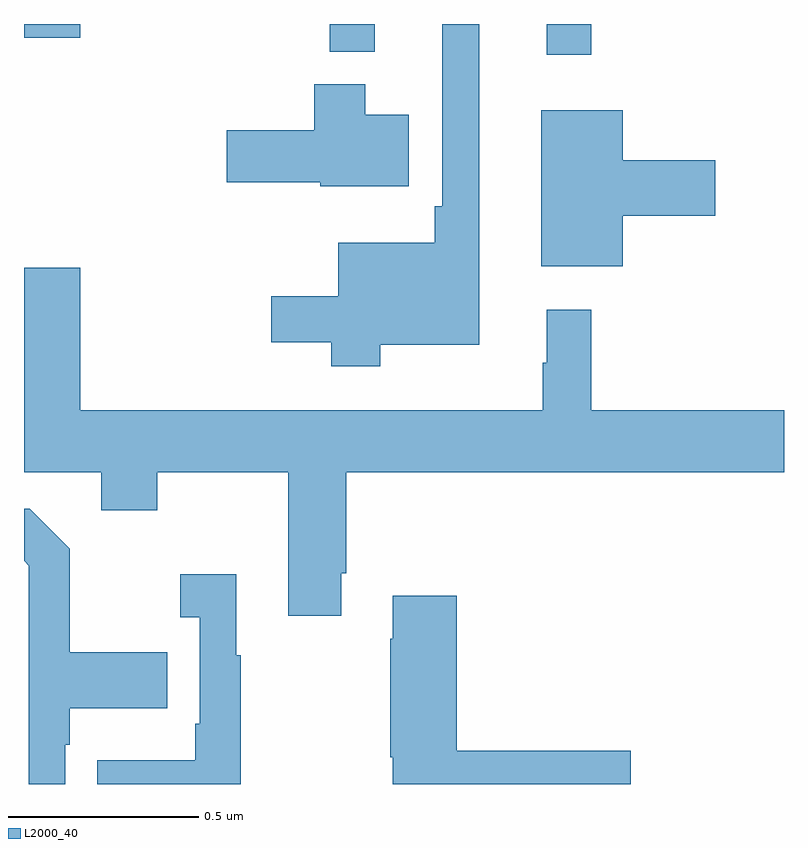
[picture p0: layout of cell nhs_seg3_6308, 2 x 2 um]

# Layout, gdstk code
import gdstk
lib = gdstk.Library(unit=1e-6, precision=1e-09)
def R(c, l, rs):  # rectangles x0, y0, x1, y1
    for r in rs: c.add(gdstk.rectangle(r[:2], r[2:], *l))
def P(c, l, *ps):  # polygons
    for p in ps: c.add(gdstk.Polygon(p, *l))
L2000_40 = (2000, 40)

nhs_seg3_6308 = lib.new_cell('nhs_seg3_6308')
R(nhs_seg3_6308, L2000_40, [(190.376,731.319,190.493,731.4), (189.805,731.327,189.923,731.4), (189,731.364,189.148,731.4)])
P(nhs_seg3_6308, L2000_40, [(189.937,730.556),(190.198,730.556),(190.198,731.4),(190.101,731.4),(190.101,730.921),(190.081,730.921),(190.081,730.825),(189.827,730.825),(189.827,730.684),(189.651,730.684),(189.651,730.562),(189.808,730.562),(189.808,730.499),(189.937,730.499)],
  [(190.012,731.161),(189.898,731.161),(189.898,731.242),(189.764,731.242),(189.764,731.121),(189.534,731.121),(189.534,730.984),(189.78,730.984),(189.78,730.973),(190.012,730.973)],
  [(190.576,730.895),(190.819,730.895),(190.819,731.042),(190.576,731.042),(190.576,731.173),(190.361,731.173),(190.361,730.763),(190.576,730.763)],
  [(189.835,729.955),(189.848,729.955),(189.848,730.22),(191,730.22),(191,730.384),(190.493,730.384),(190.493,730.648),(190.376,730.648),(190.376,730.508),(190.365,730.508),(190.365,730.384),(189.148,730.384),(189.148,730.759),(189,730.759),(189,730.22),(189.203,730.22),(189.203,730.121),(189.351,730.121),(189.351,730.22),(189.695,730.22),(189.695,729.843),(189.835,729.843)],
  [(189.108,729.503),(189.121,729.503),(189.121,729.599),(189.377,729.599),(189.377,729.747),(189.121,729.747),(189.121,730.019),(189.015,730.125),(189,730.125),(189,729.987),(189.012,729.975),(189.012,729.4),(189.108,729.4)],
  [(189.571,729.739),(189.559,729.739),(189.559,729.952),(189.411,729.952),(189.411,729.839),(189.462,729.839),(189.462,729.559),(189.45,729.559),(189.45,729.463),(189.193,729.463),(189.193,729.4),(189.571,729.4)],
  [(190.597,729.488),(190.139,729.488),(190.139,729.895),(189.971,729.895),(189.971,729.782),(189.964,729.782),(189.964,729.471),(189.971,729.471),(189.971,729.4),(190.597,729.4)])

lib.write_gds('nhs_seg3_6308.gds')
